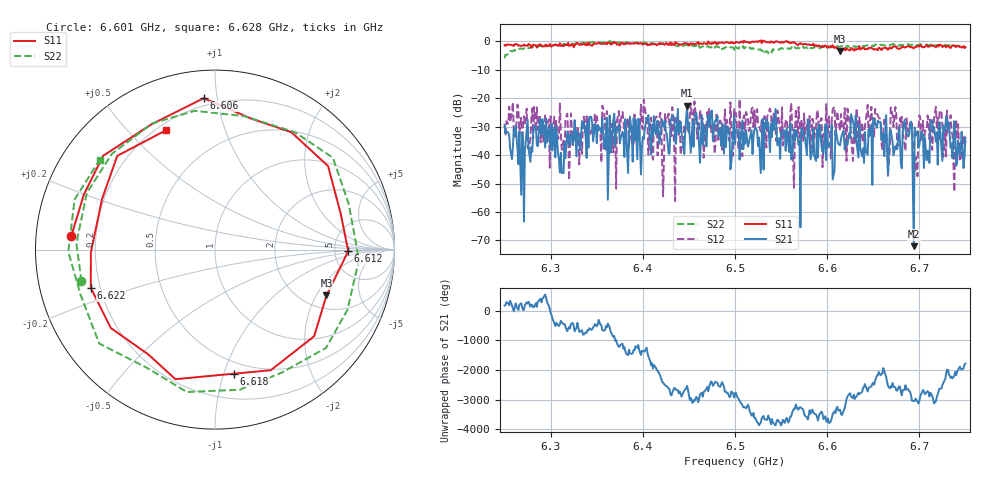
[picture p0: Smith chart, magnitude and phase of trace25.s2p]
# Hz S RI R 50
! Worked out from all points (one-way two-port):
!   401 points, 6.25 GHz to 6.75 GHz, reference 50 ohm
!   highest |S21| = -22.66 dB at 6.448 GHz (marker M1); lowest = -72.0 dB at 6.694 GHz (marker M2)
!   lowest |S11| = -3.5 dB at 6.614 GHz (marker M3), VSWR 5.09, Z = 132 - j122 ohm
!   |S11| at or under -10 dB: nowhere
!   |S22| runs from -6.1 to 0.0 dB; largest |S21 - S12| = 0.12
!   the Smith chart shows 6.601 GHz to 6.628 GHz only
!   S11 on the Smith chart (normalised r, x): 6.601 GHz: 0.11, +0.05; 6.606 GHz: 0.15, +0.92; 6.612 GHz: 6.76, -0.26; 6.618 GHz: 0.40, -1.08; 6.622 GHz: 0.16, -0.15; 6.628 GHz: 0.23, +0.65
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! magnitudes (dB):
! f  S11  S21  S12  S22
! 6.25 GHz  -1.4  -29.3  -29.7  -6.1
! 6.27 GHz  -1.5  -34.6  -29.2  -2.8
! 6.29 GHz  -1.6  -32.8  -31.0  -1.8
! 6.311 GHz  -1.7  -39.2  -32.4  -1.0
! 6.334 GHz  -1.3  -28.0  -39.6  -0.7
! 6.418 GHz  -0.7  -36.1  -27.1  -1.1
! 6.448 GHz  -0.8  -22.7  -25.6  -1.3
! 6.5 GHz  -0.7  -36.2  -28.5  -1.7
! 6.584 GHz  -1.4  -38.5  -27.2  -2.3
! 6.601 GHz  -1.9  -37.3  -30.7  -2.3
! 6.606 GHz  -1.5  -48.6  -23.9  -2.1
! 6.612 GHz  -2.6  -36.0  -27.4  -2.1
! 6.614 GHz  -3.5  -36.6  -31.6  -1.9
! 6.618 GHz  -3.1  -31.3  -31.1  -2.2
! 6.622 GHz  -2.8  -36.3  -23.7  -1.6
! 6.628 GHz  -2.9  -28.2  -42.1  -1.8
! 6.655 GHz  -3.2  -27.9  -26.1  -1.4
! 6.668 GHz  -2.2  -31.1  -37.9  -1.5
! 6.671 GHz  -2.1  -35.4  -26.1  -1.3
! 6.694 GHz  -2.5  -72.0  -39.5  -1.1
! 6.73 GHz  -1.7  -28.2  -24.4  -1.5
! 6.75 GHz  -2.1  -34.0  -35.8  -2.3
